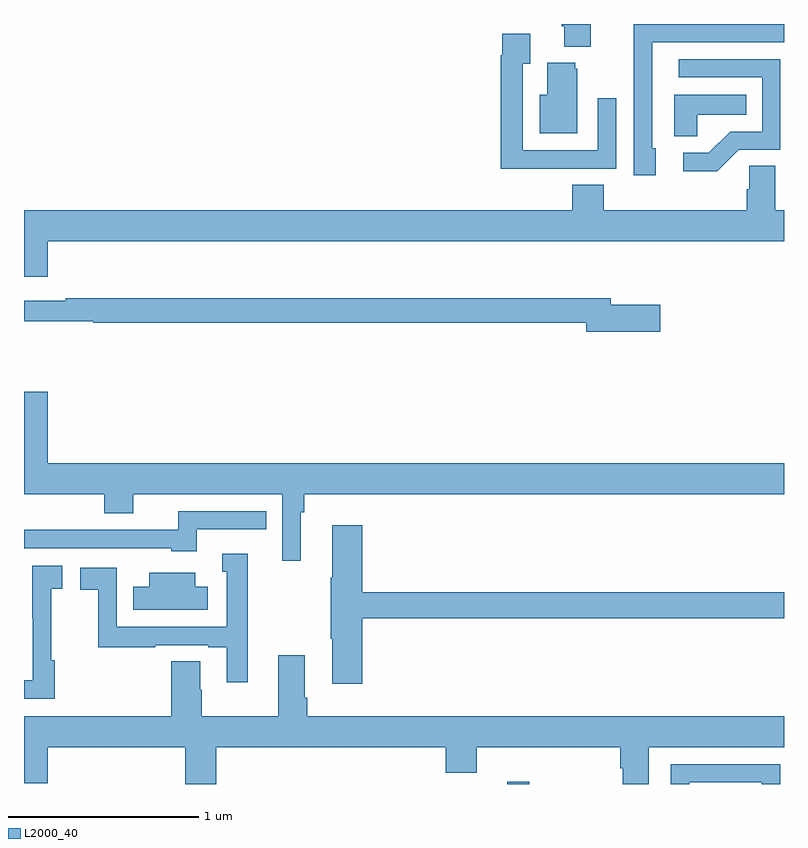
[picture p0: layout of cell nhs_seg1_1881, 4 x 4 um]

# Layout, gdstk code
import gdstk
lib = gdstk.Library(unit=1e-6, precision=1e-09)
def R(c, l, rs):  # rectangles x0, y0, x1, y1
    for r in rs: c.add(gdstk.rectangle(r[:2], r[2:], *l))
def P(c, l, *ps):  # polygons
    for p in ps: c.add(gdstk.Polygon(p, *l))
L2000_40 = (2000, 40)

nhs_seg1_1881 = lib.new_cell('nhs_seg1_1881')
R(nhs_seg1_1881, L2000_40, [(215.544,558.199,215.659,558.211)])
P(nhs_seg1_1881, L2000_40, [(215.983,562.199),(215.831,562.199),(215.831,562.186),(215.843,562.186),(215.843,562.079),(215.983,562.079)],
  [(216.325,561.546),(216.306,561.546),(216.306,562.104),(217,562.104),(217,562.199),(216.208,562.199),(216.208,561.895),(216.21,561.895),(216.21,561.402),(216.325,561.402)],
  [(215.801,561.438),(216.117,561.438),(216.117,561.808),(216.021,561.808),(216.021,561.534),(215.625,561.534),(215.625,561.991),(215.665,561.991),(215.665,562.147),(215.517,562.147),(215.517,562.034),(215.509,562.034),(215.509,561.437),(215.801,561.437)],
  [(216.762,561.537),(216.981,561.537),(216.981,562.014),(216.447,562.014),(216.447,561.918),(216.885,561.918),(216.885,561.633),(216.716,561.633),(216.605,561.522),(216.471,561.522),(216.471,561.425),(216.649,561.425)],
  [(215.911,561.963),(215.9,561.963),(215.9,561.994),(215.753,561.994),(215.753,561.826),(215.714,561.826),(215.714,561.623),(215.911,561.623)],
  [(216.543,561.722),(216.8,561.722),(216.8,561.826),(216.422,561.826),(216.422,561.607),(216.543,561.607)],
  [(213.124,561.056),(217,561.056),(217,561.22),(216.955,561.22),(216.955,561.452),(216.816,561.452),(216.816,561.329),(216.803,561.329),(216.803,561.22),(216.05,561.22),(216.05,561.353),(215.885,561.353),(215.885,561.22),(213,561.22),(213,560.868),(213.124,560.868)],
  [(216.349,560.721),(216.088,560.721),(216.088,560.755),(213.22,560.755),(213.22,560.742),(213,560.742),(213,560.634),(213.364,560.634),(213.364,560.626),(215.96,560.626),(215.96,560.579),(216.349,560.579)],
  [(214.456,559.628),(214.475,559.628),(214.475,559.724),(217,559.724),(217,559.888),(213.124,559.888),(213.124,560.263),(213,560.263),(213,559.724),(213.422,559.724),(213.422,559.625),(213.574,559.625),(213.574,559.724),(214.359,559.724),(214.359,559.374),(214.456,559.374)],
  [(213.91,559.539),(214.274,559.539),(214.274,559.635),(213.811,559.635),(213.811,559.536),(213.338,559.536),(213.338,559.538),(213,559.538),(213,559.437),(213.003,559.44),(213.774,559.44),(213.774,559.424),(213.91,559.424)],
  [(214.781,559.072),(217,559.072),(217,559.208),(214.781,559.208),(214.781,559.561),(214.622,559.561),(214.622,559.285),(214.615,559.285),(214.615,558.964),(214.622,558.964),(214.622,558.726),(214.781,558.726)],
  [(214.177,559.411),(214.043,559.411),(214.043,559.317),(214.068,559.317),(214.068,559.026),(213.489,559.026),(213.489,559.338),(213.297,559.338),(213.297,559.222),(213.391,559.222),(213.391,558.918),(213.692,558.918),(213.692,558.93),(213.971,558.93),(213.971,558.918),(214.067,558.918),(214.067,558.735),(214.177,558.735)],
  [(213.161,558.851),(213.144,558.851),(213.144,559.227),(213.202,559.227),(213.202,559.348),(213.044,559.348),(213.044,559.072),(213.045,559.072),(213.045,558.744),(213,558.744),(213,558.648),(213.161,558.648)],
  [(213.967,559.237),(213.901,559.237),(213.901,559.312),(213.659,559.312),(213.659,559.237),(213.574,559.237),(213.574,559.115),(213.967,559.115)],
  [(214.012,558.392),(215.219,558.392),(215.219,558.259),(215.384,558.259),(215.384,558.392),(216.137,558.392),(216.137,558.283),(216.15,558.283),(216.15,558.199),(216.289,558.199),(216.289,558.392),(217,558.392),(217,558.556),(214.49,558.556),(214.49,558.652),(214.477,558.652),(214.477,558.877),(214.337,558.877),(214.337,558.556),(213.936,558.556),(213.936,558.695),(213.928,558.695),(213.928,558.845),(213.776,558.845),(213.776,558.556),(213,558.556),(213,558.204),(213.124,558.204),(213.124,558.392),(213.848,558.392),(213.848,558.199),(214.012,558.199)],
  [(216.501,558.207),(216.882,558.207),(216.882,558.199),(216.979,558.199),(216.979,558.303),(216.405,558.303),(216.405,558.199),(216.501,558.199)])

lib.write_gds('nhs_seg1_1881.gds')
